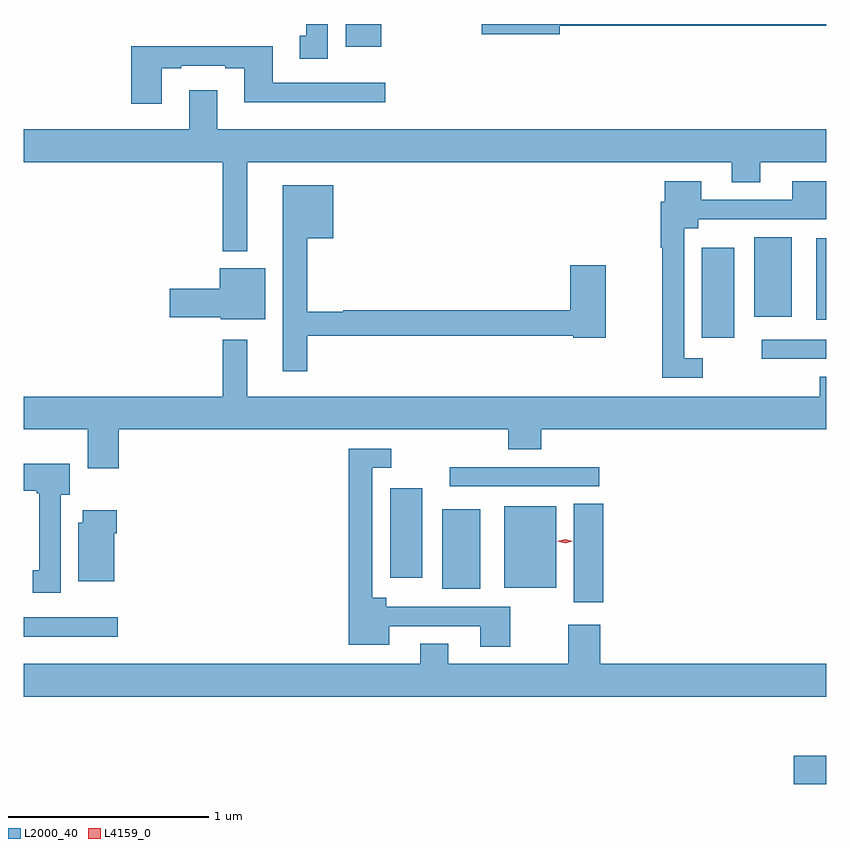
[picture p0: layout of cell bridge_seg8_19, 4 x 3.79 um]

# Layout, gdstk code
import gdstk
lib = gdstk.Library(unit=1e-6, precision=1e-09)
def R(c, l, rs):  # rectangles x0, y0, x1, y1
    for r in rs: c.add(gdstk.rectangle(r[:2], r[2:], *l))
def P(c, l, *ps):  # polygons
    for p in ps: c.add(gdstk.Polygon(p, *l))
L2000_40 = (2000, 40)
L4159_0 = (4159, 0)

bridge_seg8_19 = lib.new_cell('bridge_seg8_19')
R(bridge_seg8_19, L2000_40, [(904.818,1150.697,904.981,1150.839), (900.981,1151.432,901.45,1151.529), (903.722,1151.604,903.869,1152.095), (903.068,1151.669,903.256,1152.067), (903.377,1151.675,903.634,1152.082), (902.807,1151.724,902.968,1152.172), (903.105,1152.18,903.85,1152.276), (904.659,1152.816,904.981,1152.912), (904.361,1152.921,904.522,1153.369), (904.931,1153.01,904.981,1153.417), (904.622,1153.025,904.81,1153.423), (902.585,1154.372,902.764,1154.485)])
P(bridge_seg8_19, L2000_40, [(902.497,1154.485),(902.39,1154.485),(902.39,1154.426),(902.357,1154.426),(902.357,1154.313),(902.497,1154.313)],
  [(903.652,1154.476),(904.981,1154.476),(904.981,1154.485),(903.264,1154.485),(903.264,1154.434),(903.652,1154.434)],
  [(901.669,1154.265),(901.765,1154.265),(901.765,1154.277),(901.985,1154.277),(901.985,1154.265),(902.081,1154.265),(902.081,1154.096),(902.782,1154.096),(902.782,1154.193),(902.221,1154.193),(902.221,1154.374),(901.517,1154.374),(901.517,1154.088),(901.669,1154.088)],
  [(902.095,1153.796),(904.511,1153.796),(904.511,1153.697),(904.651,1153.697),(904.651,1153.796),(904.981,1153.796),(904.981,1153.96),(901.945,1153.96),(901.945,1154.155),(901.805,1154.155),(901.805,1153.96),(900.981,1153.96),(900.981,1153.796),(901.974,1153.796),(901.974,1153.352),(902.095,1153.352)],
  [(904.366,1152.819),(904.272,1152.819),(904.272,1153.466),(904.342,1153.466),(904.342,1153.512),(904.981,1153.512),(904.981,1153.702),(904.811,1153.702),(904.811,1153.608),(904.357,1153.608),(904.357,1153.702),(904.175,1153.702),(904.175,1153.598),(904.156,1153.598),(904.156,1153.37),(904.164,1153.37),(904.164,1152.723),(904.366,1152.723)],
  [(902.395,1152.93),(903.72,1152.93),(903.72,1152.922),(903.882,1152.922),(903.882,1153.282),(903.704,1153.282),(903.704,1153.058),(902.573,1153.058),(902.573,1153.051),(902.395,1153.051),(902.395,1153.418),(902.524,1153.418),(902.524,1153.681),(902.273,1153.681),(902.273,1152.753),(902.395,1152.753)],
  [(902.185,1153.267),(901.958,1153.267),(901.958,1153.166),(901.71,1153.166),(901.71,1153.024),(901.962,1153.024),(901.962,1153.013),(902.185,1153.013)],
  [(901.454,1152.464),(903.395,1152.464),(903.395,1152.365),(903.56,1152.365),(903.56,1152.464),(904.981,1152.464),(904.981,1152.727),(904.949,1152.727),(904.949,1152.628),(902.095,1152.628),(902.095,1152.91),(901.974,1152.91),(901.974,1152.628),(900.981,1152.628),(900.981,1152.464),(901.301,1152.464),(901.301,1152.27),(901.454,1152.27)],
  [(903.405,1151.58),(902.788,1151.58),(902.788,1151.626),(902.718,1151.626),(902.718,1152.273),(902.812,1152.273),(902.812,1152.369),(902.602,1152.369),(902.602,1151.39),(902.803,1151.39),(902.803,1151.484),(903.257,1151.484),(903.257,1151.382),(903.405,1151.382)],
  [(901.165,1152.138),(901.21,1152.138),(901.21,1152.292),(900.981,1152.292),(900.981,1152.158),(901.045,1152.158),(901.045,1152.145),(901.058,1152.145),(901.058,1151.762),(901.025,1151.762),(901.025,1151.649),(901.165,1151.649)],
  [(901.432,1151.948),(901.445,1151.948),(901.445,1152.061),(901.274,1152.061),(901.274,1152),(901.253,1152),(901.253,1151.708),(901.432,1151.708)],
  [(904.981,1151.296),(903.854,1151.296),(903.854,1151.491),(903.694,1151.491),(903.694,1151.296),(903.097,1151.296),(903.097,1151.395),(902.957,1151.395),(902.957,1151.296),(900.981,1151.296),(900.981,1151.132),(904.981,1151.132)])
P(bridge_seg8_19, L4159_0, [(903.679,1151.897),(903.641,1151.907),(903.641,1151.907),(903.641,1151.907),(903.679,1151.917),(903.717,1151.908),(903.717,1151.908),(903.717,1151.907)])

lib.write_gds('bridge_seg8_19.gds')
